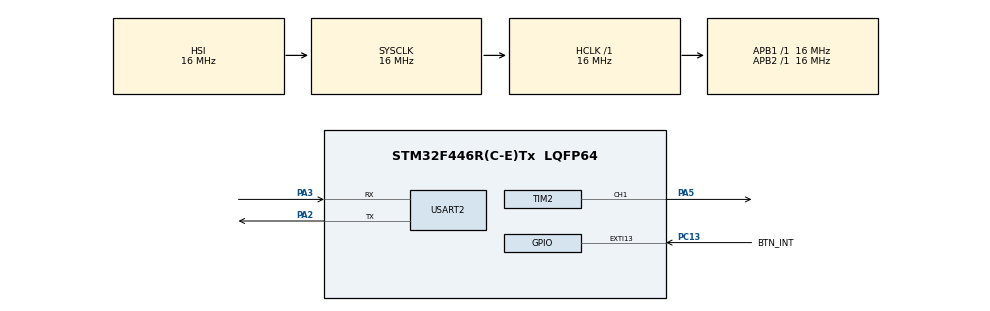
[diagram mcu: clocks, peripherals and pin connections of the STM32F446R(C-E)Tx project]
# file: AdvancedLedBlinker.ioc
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Mcu.Family=STM32F4
Mcu.Name=STM32F446R(C-E)Tx
Mcu.Package=LQFP64
NVIC.EXTI15_10_IRQn=true\:0\:0\:false\:false\:true\:true\:true\:true
NVIC.PriorityGroup=NVIC_PRIORITYGROUP_0
NVIC.TIM2_IRQn=true\:0\:0\:false\:false\:true\:true\:true\:true
NVIC.USART2_IRQn=true\:0\:0\:false\:false\:true\:true\:true\:true
PA2.Mode=Asynchronous
PA2.Signal=USART2_TX
PA3.Mode=Asynchronous
PA3.Signal=USART2_RX
PA5.Signal=S_TIM2_CH1_ETR
PC13.GPIO_Label=BTN_INT
PC13.GPIO_ModeDefaultEXTI=GPIO_MODE_IT_RISING
PC13.GPIO_PuPd=GPIO_PULLUP
PC13.Signal=GPXTI13
ProjectManager.HeapSize=0x200
ProjectManager.StackSize=0x400
ProjectManager.TargetToolchain=STM32CubeIDE
RCC.48MHZClocksFreq_Value=84000000
RCC.AHBFreq_Value=16000000
RCC.APB1Freq_Value=16000000
RCC.APB1TimFreq_Value=16000000
RCC.APB2Freq_Value=16000000
RCC.APB2TimFreq_Value=16000000
RCC.CortexFreq_Value=16000000
RCC.FLatency-AdvancedSettings=FLASH_LATENCY_0
RCC.HCLKFreq_Value=16000000
RCC.HSE_VALUE=8000000
RCC.HSI_VALUE=16000000
RCC.PLLM=8
RCC.PLLN=64
RCC.SYSCLKFreq_VALUE=16000000
RCC.USBFreq_Value=64000000
RCC.VCOOutputFreq_Value=128000000
SH.S_TIM2_CH1_ETR.0=TIM2_CH1,PWM Generation1 CH1
TIM2.Channel-PWM\ Generation1\ CH1=TIM_CHANNEL_1
TIM2.Period=1000
TIM2.Prescaler=15
TIM2.Pulse-PWM\ Generation1\ CH1=500
USART2.VirtualMode=VM_ASYNC
VP_TIM2_VS_ClockSourceINT.Mode=Internal
board=NUCLEO-F446RE

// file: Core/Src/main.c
/* USER CODE BEGIN Header */
/**
 ******************************************************************************
 * @file           : main.c
 * @brief          : Main program body
 ******************************************************************************
 * @attention
 *
 * Copyright (c) 2024 STMicroelectronics.
 * All rights reserved.
 *
 * This software is licensed under terms that can be found in the LICENSE file
 * in the root directory of this software component.
 * If no LICENSE file comes with this software, it is provided AS-IS.
 *
 ******************************************************************************
 */
/* USER CODE END Header */
#include "main.h"
#include <stdio.h>
#include <string.h>

TIM_HandleTypeDef htim2;

UART_HandleTypeDef huart2;

/* USER CODE BEGIN PV */
volatile uint8_t mode = 0;
volatile uint16_t dutycycle = 0;
uint32_t last_button_press_time = 0;
const uint32_t debounce_delay = 200;
/* USER CODE END PV */

void SystemClock_Config(void);
static void MX_GPIO_Init(void);
static void MX_TIM2_Init(void);
static void MX_USART2_UART_Init(void);

/* USER CODE BEGIN 0 */
void HAL_GPIO_EXTI_Callback(uint16_t GPIO_Pin) {
	uint32_t current_time = HAL_GetTick();
	if ((current_time - last_button_press_time) >= debounce_delay || current_time < last_button_press_time) {
		mode++;
		if (mode > 3)
		{
			mode = 0;
		}

		last_button_press_time = current_time;
		char tx_buffer[50];
		int len = sprintf(tx_buffer, "Mode changed to %d\n", mode);
		HAL_UART_Transmit(&huart2, (uint8_t *)tx_buffer, len, HAL_MAX_DELAY);
	}
}

uint8_t RxData;
void HAL_UART_RxCpltCallback(UART_HandleTypeDef *huart)
{
	RxData = RxData - 48;
	if (RxData <= 3 && RxData >= 0)
	{
		mode = RxData;
		char tx_buffer[50];
		int len = sprintf(tx_buffer, "Mode changed to %d\n", mode);
		HAL_UART_Transmit(&huart2, (uint8_t *)tx_buffer, len, HAL_MAX_DELAY);
	} else
	{
		char tx_buffer[50];
		int len = sprintf(tx_buffer, "You sent wrong data!\n");
		HAL_UART_Transmit(&huart2, (uint8_t *)tx_buffer, len, HAL_MAX_DELAY);
	}

	HAL_UART_Receive_IT(&huart2, &RxData, 1);
}
/* USER CODE END 0 */

int main(void)
{

  /* MCU Configuration--------------------------------------------------------*/

  /* Reset of all peripherals, Initializes the Flash interface and the Systick. */
  HAL_Init();

  /* Configure the system clock */
  SystemClock_Config();

  /* Initialize all configured peripherals */
  MX_GPIO_Init();
  MX_TIM2_Init();
  MX_USART2_UART_Init();
  /* USER CODE BEGIN 2 */
  HAL_TIM_PWM_Start(&htim2, TIM_CHANNEL_1);

  HAL_UART_Receive_IT(&huart2, &RxData, 1);
  /* USER CODE END 2 */

  /* Infinite loop */
	while (1) {

    /* USER CODE BEGIN 3 */
		switch(mode)
		{
			case 0:
				dutycycle = dutycycle + 100;
				if (dutycycle == 1000)
				{
					dutycycle = 100;
				}
				break;

			case 1:
				dutycycle = 0;
				break;

			case 2:
				dutycycle = 500;
				break;

			case 3:
				dutycycle = 900;
				break;

			default:
				dutycycle = 0;
				break;
		}

		htim2.Instance->CCR1 = dutycycle;
		HAL_Delay(100);
	}
  /* USER CODE END 3 */
}

void SystemClock_Config(void)
{
  RCC_OscInitTypeDef RCC_OscInitStruct = {0};
  RCC_ClkInitTypeDef RCC_ClkInitStruct = {0};

  /** Configure the main internal regulator output voltage
  */
  __HAL_RCC_PWR_CLK_ENABLE();
  __HAL_PWR_VOLTAGESCALING_CONFIG(PWR_REGULATOR_VOLTAGE_SCALE3);

  /** Initializes the RCC Oscillators according to the specified parameters
  * in the RCC_OscInitTypeDef structure.
  */
  RCC_OscInitStruct.OscillatorType = RCC_OSCILLATORTYPE_HSI;
  RCC_OscInitStruct.HSIState = RCC_HSI_ON;
  RCC_OscInitStruct.HSICalibrationValue = RCC_HSICALIBRATION_DEFAULT;
  RCC_OscInitStruct.PLL.PLLState = RCC_PLL_NONE;
  if (HAL_RCC_OscConfig(&RCC_OscInitStruct) != HAL_OK)
  {
    Error_Handler();
  }

  /** Initializes the CPU, AHB and APB buses clocks
  */
  RCC_ClkInitStruct.ClockType = RCC_CLOCKTYPE_HCLK|RCC_CLOCKTYPE_SYSCLK
                              |RCC_CLOCKTYPE_PCLK1|RCC_CLOCKTYPE_PCLK2;
  RCC_ClkInitStruct.SYSCLKSource = RCC_SYSCLKSOURCE_HSI;
  RCC_ClkInitStruct.AHBCLKDivider = RCC_SYSCLK_DIV1;
  RCC_ClkInitStruct.APB1CLKDivider = RCC_HCLK_DIV1;
  RCC_ClkInitStruct.APB2CLKDivider = RCC_HCLK_DIV1;

  if (HAL_RCC_ClockConfig(&RCC_ClkInitStruct, FLASH_LATENCY_0) != HAL_OK)
  {
    Error_Handler();
  }
}

static void MX_TIM2_Init(void)
{

  TIM_ClockConfigTypeDef sClockSourceConfig = {0};
  TIM_MasterConfigTypeDef sMasterConfig = {0};
  TIM_OC_InitTypeDef sConfigOC = {0};

  htim2.Instance = TIM2;
  htim2.Init.Prescaler = 15;
  htim2.Init.CounterMode = TIM_COUNTERMODE_UP;
  htim2.Init.Period = 1000;
  htim2.Init.ClockDivision = TIM_CLOCKDIVISION_DIV1;
  htim2.Init.AutoReloadPreload = TIM_AUTORELOAD_PRELOAD_DISABLE;
  if (HAL_TIM_Base_Init(&htim2) != HAL_OK)
  {
    Error_Handler();
  }
  sClockSourceConfig.ClockSource = TIM_CLOCKSOURCE_INTERNAL;
  if (HAL_TIM_ConfigClockSource(&htim2, &sClockSourceConfig) != HAL_OK)
  {
    Error_Handler();
  }
  if (HAL_TIM_PWM_Init(&htim2) != HAL_OK)
  {
    Error_Handler();
  }
  sMasterConfig.MasterOutputTrigger = TIM_TRGO_RESET;
  sMasterConfig.MasterSlaveMode = TIM_MASTERSLAVEMODE_DISABLE;
  if (HAL_TIMEx_MasterConfigSynchronization(&htim2, &sMasterConfig) != HAL_OK)
  {
    Error_Handler();
  }
  sConfigOC.OCMode = TIM_OCMODE_PWM1;
  sConfigOC.Pulse = 500;
  sConfigOC.OCPolarity = TIM_OCPOLARITY_HIGH;
  sConfigOC.OCFastMode = TIM_OCFAST_DISABLE;
  if (HAL_TIM_PWM_ConfigChannel(&htim2, &sConfigOC, TIM_CHANNEL_1) != HAL_OK)
  {
    Error_Handler();
  }
  HAL_TIM_MspPostInit(&htim2);

}

static void MX_USART2_UART_Init(void)
{

  huart2.Instance = USART2;
  huart2.Init.BaudRate = 115200;
  huart2.Init.WordLength = UART_WORDLENGTH_8B;
  huart2.Init.StopBits = UART_STOPBITS_1;
  huart2.Init.Parity = UART_PARITY_NONE;
  huart2.Init.Mode = UART_MODE_TX_RX;
  huart2.Init.HwFlowCtl = UART_HWCONTROL_NONE;
  huart2.Init.OverSampling = UART_OVERSAMPLING_16;
  if (HAL_UART_Init(&huart2) != HAL_OK)
  {
    Error_Handler();
  }

}

static void MX_GPIO_Init(void)
{
  GPIO_InitTypeDef GPIO_InitStruct = {0};

  /* GPIO Ports Clock Enable */
  __HAL_RCC_GPIOC_CLK_ENABLE();
  __HAL_RCC_GPIOA_CLK_ENABLE();

  /*Configure GPIO pin : BTN_INT_Pin */
  GPIO_InitStruct.Pin = BTN_INT_Pin;
  GPIO_InitStruct.Mode = GPIO_MODE_IT_RISING;
  GPIO_InitStruct.Pull = GPIO_PULLUP;
  HAL_GPIO_Init(BTN_INT_GPIO_Port, &GPIO_InitStruct);

  /* EXTI interrupt init*/
  HAL_NVIC_SetPriority(EXTI15_10_IRQn, 0, 0);
  HAL_NVIC_EnableIRQ(EXTI15_10_IRQn);

}

void Error_Handler(void)
{
	__disable_irq();
	while (1) {
	}
}
